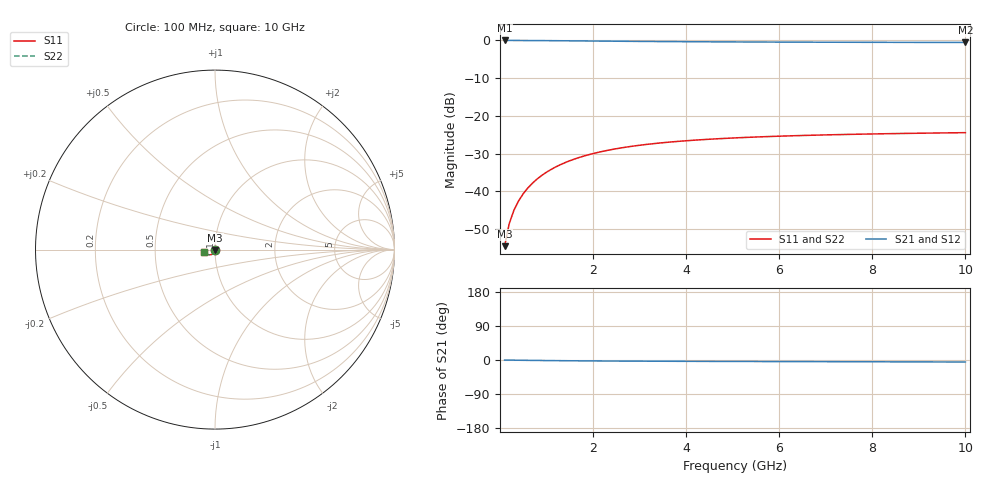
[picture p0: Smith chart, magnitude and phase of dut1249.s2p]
! Touchstone file exported from HFSS 2024.1.0
!  File:  C:/UserFiles/LocalFiles/RDL_TSV_Batchsim/temp_TSV1_1249_1780252286.aedt
!  Generated:  02:39:40 AM Jun  1, 2026
!  Design:  TSV1
!  Project:  temp_TSV1_1249_1780252286
!  Setup:  Setup1
!  Solution:  Sweep
! Variables:
!  dtsv = 12.52um
!  hbump = 3um
!  htsv = 82.54um
!  lrdl = 252.1521522um
!  p = 40
!  p1 = 49.51um
!  t = 500um
!  trdl = 3um
!  wrdl = 24.89489489um
# GHz S MA R 50.000000
! Terminal data exported
! Port[1] = TSV22_T1
! Port[2] = TSV22_T2
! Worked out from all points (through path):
!   100 points, 100 MHz to 10 GHz, reference 50 ohm
!   highest |S21| = 0.00 dB at 100 MHz (marker M1); lowest = -0.5 dB at 10 GHz (marker M2)
!   lowest |S11| = -54.6 dB at 100 MHz (marker M3), VSWR 1.00, Z = 50 - j0.187 ohm
!   |S11| at or under -10 dB: start of sweep to end of sweep
!   |S22| runs from -54.6 to -24.5 dB; largest |S21 - S12| = 7.2e-15
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0.1  0.00187 -89.0  0.9998 -0.2  0.9998 -0.2  0.00187 -89.0
! Gamma 0 0 0 0
! Port Impedance 50 0 50 0
0.2  0.003736 -92.2  0.9996 -0.3  0.9996 -0.3  0.003736 -92.2
0.3  0.005597 -94.5  0.9993 -0.5  0.9993 -0.5  0.005597 -94.5
0.4  0.007444 -96.6  0.9989 -0.6  0.9989 -0.6  0.007444 -96.6
0.5  0.00927 -98.6  0.9983 -0.8  0.9983 -0.8  0.00927 -98.6
0.6  0.01107 -100.6  0.9977 -0.9  0.9977 -0.9  0.01107 -100.6
0.7  0.01283 -102.5  0.9969 -1.0  0.9969 -1.0  0.01283 -102.5
0.8  0.01456 -104.3  0.9961 -1.2  0.9961 -1.2  0.01456 -104.3
0.9  0.01625 -106.2  0.9952 -1.3  0.9952 -1.3  0.01625 -106.2
1.1  0.01949 -109.7  0.9932 -1.6  0.9932 -1.6  0.01949 -109.7
1.4  0.02398 -114.6  0.9899 -1.9  0.9899 -1.9  0.02398 -114.6
1.6  0.02672 -117.7  0.9875 -2.1  0.9875 -2.1  0.02672 -117.7
1.8  0.02926 -120.6  0.9851 -2.3  0.9851 -2.3  0.02926 -120.6
2.1  0.0327 -124.7  0.9815 -2.5  0.9815 -2.5  0.0327 -124.7
2.5  0.03666 -129.5  0.9768 -2.8  0.9768 -2.8  0.03666 -129.5
2.9  0.03999 -133.8  0.9725 -3.0  0.9725 -3.0  0.03999 -133.8
3.4  0.04344 -138.5  0.9677 -3.3  0.9677 -3.3  0.04344 -138.5
4.2  0.04769 -144.8  0.9613 -3.6  0.9613 -3.6  0.04769 -144.8
5.1  0.05118 -150.5  0.9556 -3.9  0.9556 -3.9  0.05118 -150.5
6.7  0.05533 -158.3  0.9486 -4.3  0.9486 -4.3  0.05533 -158.3
8.4  0.0581 -164.5  0.9437 -4.8  0.9437 -4.8  0.0581 -164.5
10  0.05986 -169.2  0.9406 -5.3  0.9406 -5.3  0.05986 -169.2
